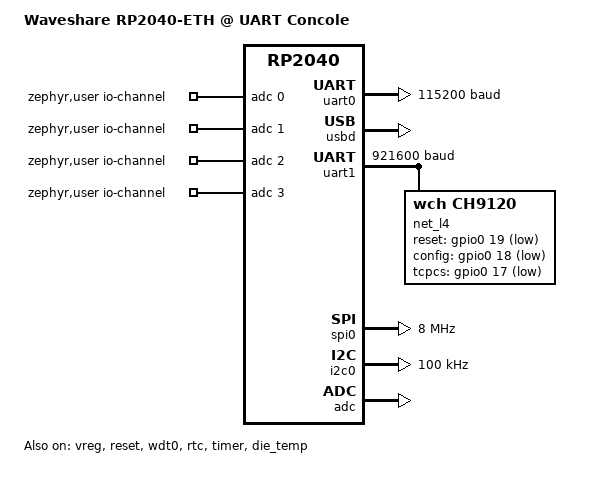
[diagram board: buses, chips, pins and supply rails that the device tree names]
/*
 * SPDX-FileCopyrightText: Copyright (c) 2023-2026 TiaC Systems
 * SPDX-License-Identifier: Apache-2.0
 */

/dts-v1/;

#include <freq.h>
#include <mem.h>

#include <raspberrypi/rpi_pico/rp2040.dtsi>
#include <raspberrypi/partitions_2M_default.dtsi>

#include <zephyr/dt-bindings/clock/rpi_pico_rp2040_clock.h>
#include <zephyr/dt-bindings/regulator/rpi_pico.h>

#include <zephyr/dt-bindings/gpio/gpio.h>
#include <zephyr/dt-bindings/i2c/i2c.h>
#include <zephyr/dt-bindings/led/led.h>

#include "raspberrypi_pico_connector.dtsi"
#include "raspberrypi_pico_r3_connector.dtsi"
#include "waveshare_rp2040_eth-pinctrl.dtsi"

/ {
	model = "Waveshare RP2040-ETH @ UART Concole";
	compatible = "waveshare,rp2040-eth",
		     "waveshare,rp2040-eth-uartcons";

	chosen {
		zephyr,sram = &sram0;
		zephyr,flash = &flash0;
		zephyr,flash-controller = &ssi;
		zephyr,code-partition = &code_partition;
		zephyr,console = &uart0;
		zephyr,shell-uart = &uart0;
	};

	aliases {
		watchdog0 = &wdt0;
		led-strip = &led_strip;
	};

	zephyr,user {
		io-channels = <&adc 0>, <&adc 1>, <&adc 2>, <&adc 3>;
	};
};

&flash0 {
	status = "okay";
	reg = <0x10000000 DT_SIZE_M(4)>;
	ranges = <0x0 0x10000000 DT_SIZE_M(4)>;
};

&storage_partition {
	reg = <0x100000 DT_SIZE_M(3)>;
};

&clocks {
	status = "okay";
	pinctrl-0 = <&clocks_default>;
	pinctrl-names = "default";
};

&vreg {
	status = "okay";
	regulator-always-on;
	regulator-allowed-modes = <REGULATOR_RPI_PICO_MODE_NORMAL>;
};

&reset {
	status = "okay";
};

&wdt0 {
	status = "okay";
};

&rtc {
	status = "okay";
	clocks = <&clocks RPI_PICO_CLKID_CLK_RTC>;
};

&timer {
	status = "okay";
};

&dma {
	status = "okay";
};

&die_temp {
	status = "okay";
	friendly-name = "RP2040 chip temperature";
};

&uart0 {
	status = "okay";
	pinctrl-0 = <&uart0_default>;
	pinctrl-names = "default";
	current-speed = <115200>;
};

zephyr_udc0: &usbd {
	status = "okay";
};

&uart1 {
	status = "okay";
	pinctrl-0 = <&uart1_default>;
	pinctrl-names = "default";

	current-speed = <921600>;

	net_l4: ch9120 {
		compatible = "wch,ch9120";
		status = "okay";

		reset-gpios = <&gpio0 19 GPIO_ACTIVE_LOW>;
		config-gpios = <&gpio0 18 GPIO_ACTIVE_LOW>;
		tcpcs-gpios = <&gpio0 17 GPIO_ACTIVE_LOW>;
	};
};

&spi0 {
	status = "okay";
	pinctrl-0 = <&spi0_default>;
	pinctrl-names = "default";
	clock-frequency = <DT_FREQ_M(8)>;
};

&i2c0 {
	status = "okay";
	pinctrl-0 = <&i2c0_default>;
	pinctrl-names = "default";
	clock-frequency = <I2C_BITRATE_STANDARD>;
};

&i2c1 {
	status = "disabled";
	pinctrl-0 = <&i2c1_default>;
	pinctrl-names = "default";
	clock-frequency = <I2C_BITRATE_STANDARD>;
};

&adc {
	status = "okay";
	pinctrl-0 = <&adc_default>;
	pinctrl-names = "default";
};

&pio0 {
	status = "okay";

	pio-ws2812 {
		compatible = "worldsemi,ws2812-rpi_pico-pio";
		status = "okay";

		pinctrl-0 = <&pio0_ws2812_default>;
		pinctrl-names = "default";

		/* HI: 0x3F0: 1111110000: 0.750 us high and 0.500 us low */
		/* LO: 0x380: 1110000000: 0.375 us high and 0.875 us low */
		bit-waveform = <3>, <3>, <4>;

		led_strip: ws2812 {
			status = "okay";

			chain-length = <1>;
			color-mapping = <LED_COLOR_ID_RED
					 LED_COLOR_ID_GREEN
					 LED_COLOR_ID_BLUE>;

			/* PIO0:OUT @ GP25 and Tbit = 1.25 us / 10 */
			gpios = <&gpio0 25 GPIO_ACTIVE_HIGH>;
			frequency = <DT_FREQ_K(800)>;
			reset-delay = <280>;
		};
	};
};

&gpio0 {
	status = "okay";
	/* namespace and positions without wired bits */
	gpio-reserved-ranges = <10 7>, <23 3>;
	gpio-line-names =
		"TX0",			/* GP0 */
		"RX0",			/* GP1 */
		"GP2_PWM2_CTS0_SDA1",	/* GP2 */
		"GP3_PWM3_RTS0_SCL1",	/* GP3 */
		"SDI0",			/* GP4 */
		"CSN0",			/* GP5 */
		"SCK0",			/* GP6 */
		"SDO0",			/* GP7 */
		"SDA0",			/* GP8 */
		"SCL0",			/* GP9 */
		"",          /* not wired, GP10 */
		"",          /* not wired, GP11 */
		"",          /* not wired, GP12 */
		"",          /* not wired, GP13 */
		"",          /* not wired, GP14 */
		"",          /* not wired, GP15 */
		"",          /* not wired, GP16 */
		"ETH_TCPCS",		/* GP17 */
		"ETH_CFG0",		/* GP18 */
		"ETH_RSTI",		/* GP19 */
		"ETH_RX1",		/* GP20 */
		"ETH_TX1",		/* GP21 */
		"GP22_PWM6",		/* GP22 */
		"",          /* not wired, GP23 */
		"",          /* not wired, GP24 */
		"",  /* Din of LED stripe, GP25 */
		"ADC0",			/* GP26 */
		"ADC1",			/* GP27 */
		"ADC2",			/* GP28 */
		"PSU_ADC3_VSYS/3";	/* GP29 */
};
